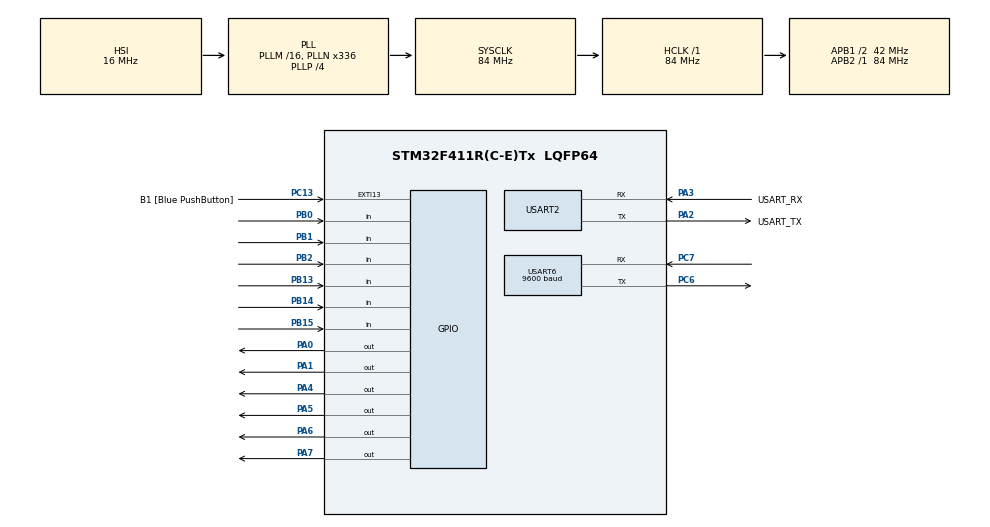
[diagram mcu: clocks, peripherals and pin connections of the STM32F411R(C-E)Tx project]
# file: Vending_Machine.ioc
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Dma.Request0=USART6_RX
Dma.Request1=USART2_RX
Dma.USART2_RX.1.Direction=DMA_PERIPH_TO_MEMORY
Dma.USART2_RX.1.FIFOMode=DMA_FIFOMODE_DISABLE
Dma.USART2_RX.1.Instance=DMA1_Stream5
Dma.USART2_RX.1.MemDataAlignment=DMA_MDATAALIGN_BYTE
Dma.USART2_RX.1.MemInc=DMA_MINC_ENABLE
Dma.USART2_RX.1.Mode=DMA_NORMAL
Dma.USART2_RX.1.PeriphDataAlignment=DMA_PDATAALIGN_BYTE
Dma.USART2_RX.1.PeriphInc=DMA_PINC_DISABLE
Dma.USART2_RX.1.Priority=DMA_PRIORITY_LOW
Dma.USART6_RX.0.Direction=DMA_PERIPH_TO_MEMORY
Dma.USART6_RX.0.FIFOMode=DMA_FIFOMODE_DISABLE
Dma.USART6_RX.0.Instance=DMA2_Stream1
Dma.USART6_RX.0.MemDataAlignment=DMA_MDATAALIGN_BYTE
Dma.USART6_RX.0.MemInc=DMA_MINC_ENABLE
Dma.USART6_RX.0.Mode=DMA_NORMAL
Dma.USART6_RX.0.PeriphDataAlignment=DMA_PDATAALIGN_BYTE
Dma.USART6_RX.0.PeriphInc=DMA_PINC_DISABLE
Dma.USART6_RX.0.Priority=DMA_PRIORITY_LOW
FREERTOS.INCLUDE_uxTaskGetStackHighWaterMark=1
FREERTOS.Queues01=msgQueue,32,uint32_t,0,Dynamic,NULL,NULL
FREERTOS.Tasks01=UART_Task,0,256,UART_Task_Func,Default,NULL,Dynamic,NULL,NULL;IR_Task,2,256,IR_Task_Func,Default,NULL,Dynamic,NULL,NULL
FREERTOS.configCHECK_FOR_STACK_OVERFLOW=2
FREERTOS.configUSE_NEWLIB_REENTRANT=1
Mcu.Family=STM32F4
Mcu.Name=STM32F411R(C-E)Tx
Mcu.Package=LQFP64
NVIC.DMA1_Stream5_IRQn=true\:5\:0\:false\:false\:true\:true\:false\:true\:true
NVIC.DMA2_Stream1_IRQn=true\:5\:0\:false\:false\:true\:true\:false\:true\:true
NVIC.PriorityGroup=NVIC_PRIORITYGROUP_4
NVIC.TIM3_IRQn=true\:15\:0\:false\:false\:true\:false\:false\:true\:true
NVIC.TimeBase=TIM3_IRQn
NVIC.TimeBaseIP=TIM3
NVIC.USART2_IRQn=true\:5\:0\:false\:false\:true\:true\:true\:true\:true
NVIC.USART6_IRQn=true\:5\:0\:false\:false\:true\:true\:true\:true\:true
PA0-WKUP.Signal=GPIO_Output
PA1.Signal=GPIO_Output
PA13.GPIO_Label=TMS
PA13.Mode=Serial_Wire
PA13.Signal=SYS_JTMS-SWDIO
PA14.GPIO_Label=TCK
PA14.Mode=Serial_Wire
PA14.Signal=SYS_JTCK-SWCLK
PA2.GPIO_Label=USART_TX
PA2.Mode=Asynchronous
PA2.Signal=USART2_TX
PA3.GPIO_Label=USART_RX
PA3.Mode=Asynchronous
PA3.Signal=USART2_RX
PA4.Signal=GPIO_Output
PA5.Signal=GPIO_Output
PA6.Signal=GPIO_Output
PA7.Signal=GPIO_Output
PB0.Signal=GPIO_Input
PB1.Signal=GPIO_Input
PB13.Signal=GPIO_Input
PB14.Signal=GPIO_Input
PB15.Signal=GPIO_Input
PB2.Signal=GPIO_Input
PB3.GPIO_Label=SWO
PB3.Signal=SYS_JTDO-SWO
PC13-ANTI_TAMP.GPIO_Label=B1 [Blue PushButton]
PC13-ANTI_TAMP.GPIO_ModeDefaultEXTI=GPIO_MODE_IT_FALLING
PC13-ANTI_TAMP.Signal=GPXTI13
PC14-OSC32_IN.Mode=LSE-External-Oscillator
PC14-OSC32_IN.Signal=RCC_OSC32_IN
PC15-OSC32_OUT.Mode=LSE-External-Oscillator
PC15-OSC32_OUT.Signal=RCC_OSC32_OUT
PC6.Mode=Asynchronous
PC6.Signal=USART6_TX
PC7.Mode=Asynchronous
PC7.Signal=USART6_RX
PH0\ -\ OSC_IN.Mode=HSE-External-Clock-Source
PH0\ -\ OSC_IN.Signal=RCC_OSC_IN
PH1\ -\ OSC_OUT.Mode=HSE-External-Clock-Source
PH1\ -\ OSC_OUT.Signal=RCC_OSC_OUT
ProjectManager.HeapSize=0x200
ProjectManager.StackSize=0x400
ProjectManager.TargetToolchain=STM32CubeIDE
RCC.48MHZClocksFreq_Value=84000000
RCC.AHBFreq_Value=84000000
RCC.APB1CLKDivider=RCC_HCLK_DIV2
RCC.APB1Freq_Value=42000000
RCC.APB1TimFreq_Value=84000000
RCC.APB2Freq_Value=84000000
RCC.APB2TimFreq_Value=84000000
RCC.CortexFreq_Value=84000000
RCC.FLatency-AdvancedSettings=FLASH_LATENCY_2
RCC.HCLKFreq_Value=84000000
RCC.HSE_VALUE=8000000
RCC.HSI_VALUE=16000000
RCC.PLLN=336
RCC.PLLP=RCC_PLLP_DIV4
RCC.SYSCLKFreq_VALUE=84000000
RCC.SYSCLKSource=RCC_SYSCLKSOURCE_PLLCLK
RCC.VCOOutputFreq_Value=336000000
USART2.VirtualMode=VM_ASYNC
USART6.BaudRate=9600
USART6.VirtualMode=VM_ASYNC
VP_FREERTOS_VS_CMSIS_V1.Mode=CMSIS_V1
VP_SYS_VS_tim3.Mode=TIM3
board=NUCLEO-F411RE

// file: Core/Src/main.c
/* USER CODE BEGIN Header */
/**
  ******************************************************************************
  * @file           : main.c
  * @brief          : Main program body
  ******************************************************************************
  * @attention
  *
  * Copyright (c) 2024 STMicroelectronics.
  * All rights reserved.
  *
  * This software is licensed under terms that can be found in the LICENSE file
  * in the root directory of this software component.
  * If no LICENSE file comes with this software, it is provided AS-IS.
  *
  ******************************************************************************
  */
/* USER CODE END Header */
#include "main.h"
#include "cmsis_os.h"
#include "dma.h"
#include "usart.h"
#include "gpio.h"

/* USER CODE BEGIN Includes */
#include <stdio.h>
#include <string.h>
#include <stdlib.h>
/* USER CODE END Includes */

void SystemClock_Config(void);
void MX_FREERTOS_Init(void);

int main(void)
{

  /* USER CODE BEGIN 1 */
	int ret = 0;
  /* USER CODE END 1 */

  /* MCU Configuration--------------------------------------------------------*/

  /* Reset of all peripherals, Initializes the Flash interface and the Systick. */
  HAL_Init();

  /* Configure the system clock */
  SystemClock_Config();

  /* Initialize all configured peripherals */
  MX_GPIO_Init();
  MX_DMA_Init();
  MX_USART2_UART_Init();
  MX_USART6_UART_Init();
  /* USER CODE BEGIN 2 */
  ret |= drv_uart_init();
	ret |= drv_esp_init();
	if(ret != 0) Error_Handler();
	printf("start main()\r\n");
  /* USER CODE END 2 */

  /* Call init function for freertos objects (in cmsis_os2.c) */
  MX_FREERTOS_Init();

  /* Start scheduler */
  osKernelStart();

  /* We should never get here as control is now taken by the scheduler */

  /* Infinite loop */
  while (1)
  {

  }
}

void SystemClock_Config(void)
{
  RCC_OscInitTypeDef RCC_OscInitStruct = {0};
  RCC_ClkInitTypeDef RCC_ClkInitStruct = {0};

  /** Configure the main internal regulator output voltage
  */
  __HAL_RCC_PWR_CLK_ENABLE();
  __HAL_PWR_VOLTAGESCALING_CONFIG(PWR_REGULATOR_VOLTAGE_SCALE1);

  /** Initializes the RCC Oscillators according to the specified parameters
  * in the RCC_OscInitTypeDef structure.
  */
  RCC_OscInitStruct.OscillatorType = RCC_OSCILLATORTYPE_HSI;
  RCC_OscInitStruct.HSIState = RCC_HSI_ON;
  RCC_OscInitStruct.HSICalibrationValue = RCC_HSICALIBRATION_DEFAULT;
  RCC_OscInitStruct.PLL.PLLState = RCC_PLL_ON;
  RCC_OscInitStruct.PLL.PLLSource = RCC_PLLSOURCE_HSI;
  RCC_OscInitStruct.PLL.PLLM = 16;
  RCC_OscInitStruct.PLL.PLLN = 336;
  RCC_OscInitStruct.PLL.PLLP = RCC_PLLP_DIV4;
  RCC_OscInitStruct.PLL.PLLQ = 4;
  if (HAL_RCC_OscConfig(&RCC_OscInitStruct) != HAL_OK)
  {
    Error_Handler();
  }

  /** Initializes the CPU, AHB and APB buses clocks
  */
  RCC_ClkInitStruct.ClockType = RCC_CLOCKTYPE_HCLK|RCC_CLOCKTYPE_SYSCLK
                              |RCC_CLOCKTYPE_PCLK1|RCC_CLOCKTYPE_PCLK2;
  RCC_ClkInitStruct.SYSCLKSource = RCC_SYSCLKSOURCE_PLLCLK;
  RCC_ClkInitStruct.AHBCLKDivider = RCC_SYSCLK_DIV1;
  RCC_ClkInitStruct.APB1CLKDivider = RCC_HCLK_DIV2;
  RCC_ClkInitStruct.APB2CLKDivider = RCC_HCLK_DIV1;

  if (HAL_RCC_ClockConfig(&RCC_ClkInitStruct, FLASH_LATENCY_2) != HAL_OK)
  {
    Error_Handler();
  }
}

void HAL_TIM_PeriodElapsedCallback(TIM_HandleTypeDef *htim)
{
  if (htim->Instance == TIM3) {
    HAL_IncTick();
  }
}

void Error_Handler(void)
{
  __disable_irq();
  while (1)
  {
  }
}

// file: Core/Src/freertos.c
/* USER CODE BEGIN Header */
/**
  ******************************************************************************
  * File Name          : freertos.c
  * Description        : Code for freertos applications
  ******************************************************************************
  * @attention
  *
  * Copyright (c) 2024 STMicroelectronics.
  * All rights reserved.
  *
  * This software is licensed under terms that can be found in the LICENSE file
  * in the root directory of this software component.
  * If no LICENSE file comes with this software, it is provided AS-IS.
  *
  ******************************************************************************
  */
/* USER CODE END Header */

#include "FreeRTOS.h"
#include "task.h"
#include "main.h"
#include "cmsis_os.h"

/* USER CODE BEGIN Includes */
#include "gpio.h"
#include "usart.h"
#include "string.h"
#include <stdlib.h>
#include <stdio.h>
/* USER CODE END Includes */

/* USER CODE BEGIN PD */
#define MOTOR_PORT GPIOA
#define MOTOR_PIN_1 GPIO_PIN_0
#define MOTOR_PIN_2 GPIO_PIN_1
#define MOTOR_PIN_3 GPIO_PIN_4
#define MOTOR_PIN_4 GPIO_PIN_5
#define MOTOR_PIN_5 GPIO_PIN_6
#define MOTOR_PIN_6 GPIO_PIN_7
#define NUM_MOTOR_PINS 6

#define IR_PORT GPIOB
#define IR_PIN_1 GPIO_PIN_0
#define IR_PIN_2 GPIO_PIN_1
#define IR_PIN_3 GPIO_PIN_2
#define IR_PIN_4 GPIO_PIN_13
#define IR_PIN_5 GPIO_PIN_14
#define IR_PIN_6 GPIO_PIN_15
#define NUM_IR_PINS 6

#define SAMPLE_COUNT 5

#ifdef __GNUC__
/* With GCC, small printf (option LD Linker->Libraries->Small printf
   set to 'Yes') calls __io_putchar() */
#define PUTCHAR_PROTOTYPE int __io_putchar(int ch)
#else
#define PUTCHAR_PROTOTYPE int fputc(int ch, FILE *f)
#endif /* __GNUC__ */
#define ARR_CNT 5
#define CMD_SIZE 50
/* USER CODE END PD */

/* USER CODE BEGIN Variables */
extern volatile unsigned char rx2Flag;
extern volatile char rx2Data[50];
extern volatile unsigned char btFlag;
extern char btData[50];
extern UART_HandleTypeDef huart2;
extern UART_HandleTypeDef huart6;
///////////// IR Sensor//////////////////
GPIO_PinState currentIrValues[NUM_IR_PINS];
GPIO_PinState previousIrValues[NUM_IR_PINS];
uint16_t irPins[NUM_IR_PINS] = {IR_PIN_1, IR_PIN_2, IR_PIN_3, IR_PIN_4, IR_PIN_5, IR_PIN_6};
uint16_t motorPins[NUM_MOTOR_PINS] = {MOTOR_PIN_1, MOTOR_PIN_2, MOTOR_PIN_3, MOTOR_PIN_4, MOTOR_PIN_5, MOTOR_PIN_6};
GPIO_PinState sampleValues[NUM_IR_PINS][SAMPLE_COUNT];
int sampleIndex[NUM_IR_PINS] = {0};
/* USER CODE END Variables */
osThreadId UART_TaskHandle;
osThreadId IR_TaskHandle;
osMessageQId msgQueueHandle;

/* USER CODE BEGIN FunctionPrototypes */
void bluetooth_Event(void);
GPIO_PinState majorityVote(GPIO_PinState* values, int size);
/* USER CODE END FunctionPrototypes */

void UART_Task_Func(void const * argument);
void IR_Task_Func(void const * argument);

void MX_FREERTOS_Init(void); /* (MISRA C 2004 rule 8.1) */

/* GetIdleTaskMemory prototype (linked to static allocation support) */
void vApplicationGetIdleTaskMemory( StaticTask_t **ppxIdleTaskTCBBuffer, StackType_t **ppxIdleTaskStackBuffer, uint32_t *pulIdleTaskStackSize );

/* Hook prototypes */
void vApplicationStackOverflowHook(xTaskHandle xTask, signed char *pcTaskName);

/* USER CODE BEGIN 4 */
__weak void vApplicationStackOverflowHook(xTaskHandle xTask, signed char *pcTaskName)
{
   /* Run time stack overflow checking is performed if
   configCHECK_FOR_STACK_OVERFLOW is defined to 1 or 2. This hook function is
   called if a stack overflow is detected. */
}
/* USER CODE END 4 */

/* USER CODE BEGIN GET_IDLE_TASK_MEMORY */
static StaticTask_t xIdleTaskTCBBuffer;
static StackType_t xIdleStack[configMINIMAL_STACK_SIZE];

void vApplicationGetIdleTaskMemory( StaticTask_t **ppxIdleTaskTCBBuffer, StackType_t **ppxIdleTaskStackBuffer, uint32_t *pulIdleTaskStackSize )
{
  *ppxIdleTaskTCBBuffer = &xIdleTaskTCBBuffer;
  *ppxIdleTaskStackBuffer = &xIdleStack[0];
  *pulIdleTaskStackSize = configMINIMAL_STACK_SIZE;
  /* place for user code */
}
/* USER CODE END GET_IDLE_TASK_MEMORY */

void MX_FREERTOS_Init(void) {

  /* Create the queue(s) */
  /* definition and creation of msgQueue */
  osMessageQDef(msgQueue, 32, uint32_t);
  msgQueueHandle = osMessageCreate(osMessageQ(msgQueue), NULL);

  /* Create the thread(s) */
  /* definition and creation of UART_Task */
  osThreadDef(UART_Task, UART_Task_Func, osPriorityNormal, 0, 256);
  UART_TaskHandle = osThreadCreate(osThread(UART_Task), NULL);

  /* definition and creation of IR_Task */
  osThreadDef(IR_Task, IR_Task_Func, osPriorityHigh, 0, 256);
  IR_TaskHandle = osThreadCreate(osThread(IR_Task), NULL);

}

void UART_Task_Func(void const * argument)
{
  /* USER CODE BEGIN UART_Task_Func */
	osEvent event;
  /* Infinite loop */
  for(;;)
  {
  	event = osMessageGet(msgQueueHandle, osWaitForever);
		UBaseType_t uxHighWaterMark = uxTaskGetStackHighWaterMark(NULL);
		printf("UART Task stack high watermark: %lu\r\n", uxHighWaterMark);
		if (event.status == osEventMessage)
		{
				uint32_t motorNumber = event.value.v;

				// 모터 번호에 따른 동작 수행
				if (motorNumber >= 1 && motorNumber <= NUM_MOTOR_PINS)
				{
						HAL_GPIO_WritePin(MOTOR_PORT, motorPins[motorNumber - 1], GPIO_PIN_SET);
						printf("MOTOR %lu ON\r\n", motorNumber);
				}
				else
				{
						printf("Invalid motor number: %lu\r\n", motorNumber);
				}
		}
    osDelay(500);
  }
  /* USER CODE END UART_Task_Func */
}

void IR_Task_Func(void const * argument)
{
  /* USER CODE BEGIN IR_Task_Func */

  /* Infinite loop */
  for(;;)
  {
  	UBaseType_t uxHighWaterMark = uxTaskGetStackHighWaterMark(NULL);  // ?��?�� ?��?��?��?�� ?��?�� ?��?��?��
  	printf("IR Task stack high watermark: %lu\r\n", uxHighWaterMark);
  	for (int i = 0; i < NUM_IR_PINS; i++) {
			sampleValues[i][sampleIndex[i]] = HAL_GPIO_ReadPin(IR_PORT, irPins[i]);
			sampleIndex[i] = (sampleIndex[i] + 1) % SAMPLE_COUNT;

			if (sampleIndex[i] == 0) {
				GPIO_PinState majorityValue = majorityVote(sampleValues[i], SAMPLE_COUNT);
				previousIrValues[i] = currentIrValues[i];
				currentIrValues[i] = majorityValue;
				//printf("1:%d, 2:%d, 3:%d, 4:%d, 5:%d, 6:%d\r\n",currentIrValues[0],currentIrValues[1],currentIrValues[2],currentIrValues[3],currentIrValues[4],currentIrValues[5]);
				if (previousIrValues[i] == GPIO_PIN_RESET && currentIrValues[i] == GPIO_PIN_SET) {
					printf("Motor %d OFF\r\n",i);
					HAL_GPIO_WritePin(MOTOR_PORT, motorPins[i], GPIO_PIN_RESET);
				}
			}
		}
  	osDelay(50);
  }
  /* USER CODE END IR_Task_Func */
}

/* USER CODE BEGIN Application */
void PrintTaskStatus(void)
{
    char taskList[512];
    vTaskList(taskList);
    printf("Task\t\tState\tPrio\tStack\tID\r\n");
    printf("%s\r\n", taskList);
}
GPIO_PinState majorityVote(GPIO_PinState *samples, int count) {
  int highCount = 0;
  for (int i = 0; i < count; i++) {
    if (samples[i] == GPIO_PIN_SET) {
      highCount++;
    }
  }
  return (highCount > count / 2) ? GPIO_PIN_SET : GPIO_PIN_RESET;
}

void bluetooth_Event()
{

  int i=0;
  int motorNumber = 0;
  char * pToken;
  char * pArray[ARR_CNT]={0};
  char recvBuf[CMD_SIZE];
  char sendBuf[CMD_SIZE];

  strcpy(recvBuf,btData);
  printf("btData : %s\r\n",btData);

  pToken = strtok(recvBuf,"[@]");
  while(pToken != NULL)
  {
    pArray[i] =  pToken;
    if(++i >= ARR_CNT)
      break;
    pToken = strtok(NULL,"[@]");
  }

  if(!strcmp(pArray[1],"MOTOR"))
  {
  	motorNumber = atoi(pArray[2]);
  	if(motorNumber >= 1 && motorNumber <= NUM_MOTOR_PINS) {
  		UBaseType_t uxHighWaterMark = uxTaskGetStackHighWaterMark(NULL);
  		printf("BT Func stack high watermark: %lu\r\n", uxHighWaterMark);
  		// 모터 번호를 메시지 큐에 전송
			if (osMessagePut(msgQueueHandle, motorNumber, 0) != osOK)
			{
					printf("Failed to send motor number to queue\n");
			}
		}
  }
  else if(!strncmp(pArray[1]," New conn",sizeof(" New conn")))
  {
      return;
  }
  else if(!strncmp(pArray[1]," Already log",sizeof(" Already log")))
  {
      return;
  }
  else
      return;

  sprintf(sendBuf,"[%s]%s@%s\n",pArray[0],pArray[1],pArray[2]);
  HAL_UART_Transmit(&huart6, (uint8_t *)sendBuf, strlen(sendBuf), 100);
}
PUTCHAR_PROTOTYPE
{
  /* Place your implementation of fputc here */
  /* e.g. write a character to the USART6 and Loop until the end of transmission */
  HAL_UART_Transmit(&huart2, (uint8_t *)&ch, 1, 0xFFFF);

  return ch;
}
/* USER CODE END Application */
